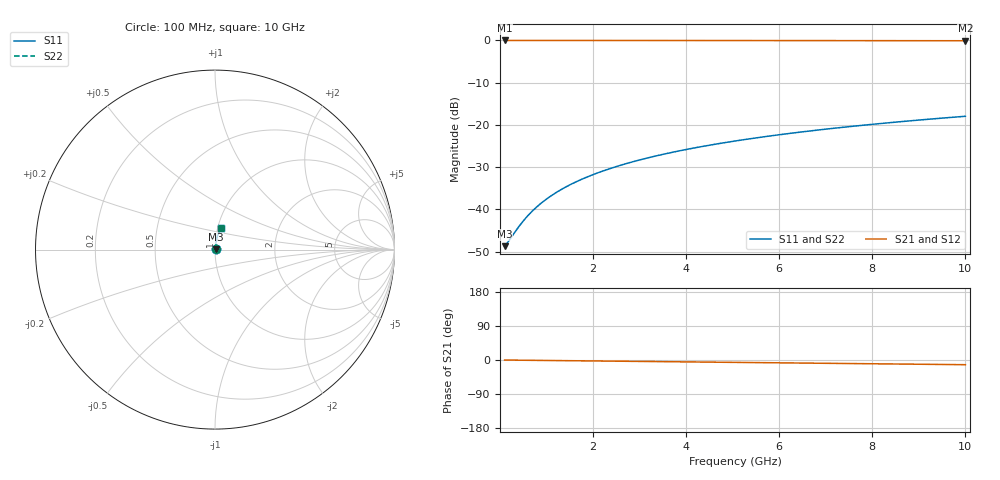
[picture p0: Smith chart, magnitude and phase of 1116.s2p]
# Hz S RI R 50.00
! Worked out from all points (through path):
!   100 points, 100 MHz to 10 GHz, reference 50 ohm
!   highest |S21| = -0.03 dB at 100 MHz (marker M1); lowest = -0.1 dB at 10 GHz (marker M2)
!   group delay of S21, straight-line fit = 3.45 ps
!   lowest |S11| = -48.7 dB at 100 MHz (marker M3), VSWR 1.01, Z = 50.3 + j0.128 ohm
!   |S11| at or under -10 dB: start of sweep to end of sweep
!   |S22| runs from -48.7 to -18.0 dB; largest |S21 - S12| = 0
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1e8  0.00343 0.00127  0.9966 -0.00216  0.9966 -0.00216  0.00343 0.00127
2e8  0.00347 0.00253  0.9965 -0.00432  0.9965 -0.00432  0.00347 0.00253
4e8  0.00353 0.00507  0.9965 -0.00865  0.9965 -0.00865  0.00353 0.00507
5e8  0.00356 0.00633  0.9964 -0.0108  0.9964 -0.0108  0.00356 0.00633
6e8  0.0036 0.0076  0.9964 -0.013  0.9964 -0.013  0.0036 0.0076
7e8  0.00365 0.00887  0.9963 -0.0151  0.9963 -0.0151  0.00365 0.00887
8e8  0.0037 0.0101  0.9963 -0.0173  0.9963 -0.0173  0.0037 0.0101
1e9  0.00381 0.0127  0.9961 -0.0216  0.9961 -0.0216  0.00381 0.0127
1.2e9  0.00395 0.0152  0.996 -0.0259  0.996 -0.0259  0.00395 0.0152
1.5e9  0.00418 0.019  0.9957 -0.0324  0.9957 -0.0324  0.00418 0.019
1.8e9  0.00447 0.0228  0.9954 -0.0389  0.9954 -0.0389  0.00447 0.0228
2.1e9  0.00481 0.0266  0.995 -0.0454  0.995 -0.0454  0.00481 0.0266
2.5e9  0.00533 0.0316  0.9944 -0.054  0.9944 -0.054  0.00533 0.0316
2.9e9  0.00593 0.0366  0.9937 -0.0626  0.9937 -0.0626  0.00593 0.0366
3.4e9  0.00681 0.0429  0.9927 -0.0733  0.9927 -0.0733  0.00681 0.0429
4.2e9  0.0085 0.0529  0.9908 -0.0905  0.9908 -0.0905  0.0085 0.0529
5.1e9  0.0108 0.064  0.9881 -0.1097  0.9881 -0.1097  0.0108 0.064
5.9e9  0.0132 0.0738  0.9853 -0.1267  0.9853 -0.1267  0.0132 0.0738
6.7e9  0.016 0.0835  0.9822 -0.1437  0.9822 -0.1437  0.016 0.0835
7.5e9  0.0191 0.0932  0.9786 -0.1605  0.9786 -0.1605  0.0191 0.0932
8.4e9  0.0229 0.1038  0.9742 -0.1793  0.9742 -0.1793  0.0229 0.1038
1e10  0.0308 0.1224  0.9651 -0.2123  0.9651 -0.2123  0.0308 0.1224
